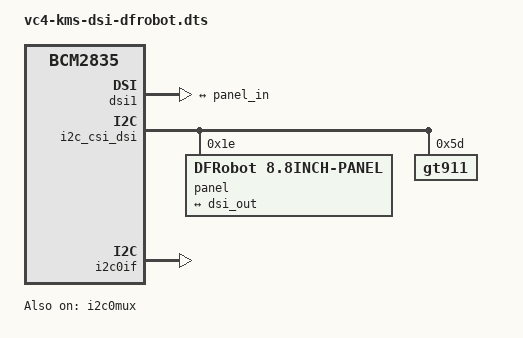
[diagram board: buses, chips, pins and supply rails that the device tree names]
/*
 * Device Tree overlay for dfrobot DSI Touchscreens
 *
 */

/dts-v1/;
/plugin/;

/ {
	compatible = "brcm,bcm2835";

	fragment@0 {
		target = <&dsi1>;
		__overlay__ {
			#address-cells = <1>;
			#size-cells = <0>;
			status = "okay";
			port {
				dsi_out: endpoint {
					remote-endpoint = <&panel_in>;
				};
			};
		};
	};

	fragment@1 {
		target-path = "/";
		__overlay__ {
		};
	};

	frag2: fragment@2 {
		target = <&i2c_csi_dsi>;
		__overlay__ {
			#address-cells = <1>;
			#size-cells = <0>;
			status = "okay";
		
			panel: panel_disp1@1e {
				reg = <0x1e>;
				compatible = "DFRobot,8.8inch-panel";
				port {
					panel_in: endpoint {
						remote-endpoint = <&dsi_out>;
					};
				};
			};

			gt911: gt911@5d {
				compatible = "gt911";
				reg = <0x5d>;
				#address-cells = <1>;
				#size-cells = <0>;
				status = "okay";
				touch@0 {
					compatible = "gt911-touch";
					reg = <0>;
				};
			};
		};
	};

	fragment@3 {
		target = <&i2c0if>;
		__overlay__ {
			status = "okay";
		};
	};

	fragment@4 {
		target = <&i2c0mux>;
		__overlay__ {
			status = "okay";
		};
	};

	fragment@5 {
		target = <&i2c_arm>;
		__dormant__ {
			status = "okay";
		};
	};
};

